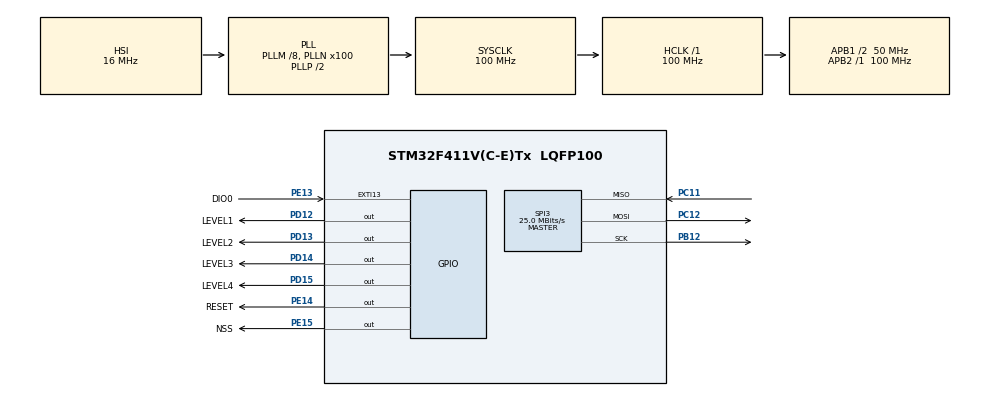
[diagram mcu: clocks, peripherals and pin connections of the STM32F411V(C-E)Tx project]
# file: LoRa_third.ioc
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Mcu.Family=STM32F4
Mcu.Name=STM32F411V(C-E)Tx
Mcu.Package=LQFP100
NVIC.EXTI15_10_IRQn=true\:0\:0\:false\:false\:true\:true\:true
NVIC.PriorityGroup=NVIC_PRIORITYGROUP_4
PA13.Mode=Serial_Wire
PA13.Signal=SYS_JTMS-SWDIO
PA14.Mode=Serial_Wire
PA14.Signal=SYS_JTCK-SWCLK
PB12.Mode=Full_Duplex_Master
PB12.Signal=SPI3_SCK
PC11.Mode=Full_Duplex_Master
PC11.Signal=SPI3_MISO
PC12.Mode=Full_Duplex_Master
PC12.Signal=SPI3_MOSI
PD12.GPIO_Label=LEVEL1
PD12.Signal=GPIO_Output
PD13.GPIO_Label=LEVEL2
PD13.Signal=GPIO_Output
PD14.GPIO_Label=LEVEL3
PD14.Signal=GPIO_Output
PD15.GPIO_Label=LEVEL4
PD15.Signal=GPIO_Output
PE13.GPIO_Label=DIO0
PE13.GPIO_ModeDefaultEXTI=GPIO_MODE_IT_RISING
PE13.Signal=GPXTI13
PE14.GPIO_Label=RESET
PE14.PinState=GPIO_PIN_SET
PE14.Signal=GPIO_Output
PE15.GPIO_Label=NSS
PE15.PinState=GPIO_PIN_SET
PE15.Signal=GPIO_Output
PH0\ -\ OSC_IN.Mode=HSE-External-Oscillator
PH0\ -\ OSC_IN.Signal=RCC_OSC_IN
PH1\ -\ OSC_OUT.Mode=HSE-External-Oscillator
PH1\ -\ OSC_OUT.Signal=RCC_OSC_OUT
ProjectManager.HeapSize=0x200
ProjectManager.StackSize=0x400
ProjectManager.TargetToolchain=MDK-ARM V5
RCC.48MHZClocksFreq_Value=50000000
RCC.AHBFreq_Value=100000000
RCC.APB1CLKDivider=RCC_HCLK_DIV2
RCC.APB1Freq_Value=50000000
RCC.APB1TimFreq_Value=100000000
RCC.APB2Freq_Value=100000000
RCC.APB2TimFreq_Value=100000000
RCC.CortexFreq_Value=100000000
RCC.HCLKFreq_Value=100000000
RCC.HSE_VALUE=25000000
RCC.HSI_VALUE=16000000
RCC.LSE_VALUE=32768
RCC.PLLM=8
RCC.PLLN=100
RCC.SYSCLKFreq_VALUE=100000000
RCC.SYSCLKSource=RCC_SYSCLKSOURCE_PLLCLK
RCC.VCOOutputFreq_Value=200000000
SPI3.CalculateBaudRate=25.0 MBits/s
SPI3.Direction=SPI_DIRECTION_2LINES
SPI3.Mode=SPI_MODE_MASTER
SPI3.VirtualType=VM_MASTER
board=custom

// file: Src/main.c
/* USER CODE BEGIN Header */
/**
  ******************************************************************************
  * @file           : main.c
  * @brief          : Main program body
  ******************************************************************************
  * @attention
  *
  * <h2><center>&copy; Copyright (c) 2020 STMicroelectronics.
  * All rights reserved.</center></h2>
  *
  * This software component is licensed by ST under BSD 3-Clause license,
  * the "License"; You may not use this file except in compliance with the
  * License. You may obtain a copy of the License at:
  *                        opensource.org/licenses/BSD-3-Clause
  *
  ******************************************************************************
  */
/* USER CODE END Header */

#include "main.h"

/* USER CODE BEGIN Includes */
#include <stdlib.h>
#include "LoRa.h"
/* USER CODE END Includes */

SPI_HandleTypeDef hspi3;

/* USER CODE BEGIN PV */
LoRa myLoRa;
uint8_t read_data[128];
uint8_t send_data[128];
int			RSSI;
//LoRa myLoRa;

/* USER CODE END PV */

void SystemClock_Config(void);
static void MX_GPIO_Init(void);
static void MX_SPI3_Init(void);

int main(void)
{

  /* MCU Configuration--------------------------------------------------------*/

  /* Reset of all peripherals, Initializes the Flash interface and the Systick. */
  HAL_Init();

  /* Configure the system clock */
  SystemClock_Config();

  /* Initialize all configured peripherals */
  MX_GPIO_Init();
  MX_SPI3_Init();
  /* USER CODE BEGIN 2 */

	// MODULE SETTINGS ----------------------------------------------
	myLoRa = newLoRa();

	myLoRa.hSPIx                 = &hspi3;
	myLoRa.CS_port               = NSS_GPIO_Port;
	myLoRa.CS_pin                = NSS_Pin;
	myLoRa.reset_port            = RESET_GPIO_Port;
	myLoRa.reset_pin             = RESET_Pin;
	myLoRa.DIO0_port						 = DIO0_GPIO_Port;
	myLoRa.DIO0_pin							 = DIO0_Pin;

	myLoRa.frequency             = 433;							  // default = 433 MHz
	myLoRa.spredingFactor        = SF_7;							// default = SF_7
	myLoRa.bandWidth			       = BW_125KHz;				  // default = BW_125KHz
	myLoRa.crcRate				       = CR_4_5;						// default = CR_4_5
	myLoRa.power					       = POWER_20db;				// default = 20db
	myLoRa.overCurrentProtection = 120; 							// default = 100 mA
	myLoRa.preamble				       = 10;		  					// default = 8;

	LoRa_reset(&myLoRa);
	LoRa_init(&myLoRa);

	// START CONTINUOUS RECEIVING -----------------------------------
	LoRa_startReceiving(&myLoRa);
	//---------------------------------------------------------------

	/* USER CODE END 2 */

  /* Infinite loop */
  /* USER CODE BEGIN WHILE */
  while (1)
  {

		// SENDING DATA - - - - - - - - - - - - - - - - - - - - - - - - -
		send_data[0] = 0x3B; // MY ADDRESS
		for(int i=0; i<26; i++)
			send_data[i+1] = 48+i;
		LoRa_transmit(&myLoRa, send_data, 128, 500);
		HAL_Delay(1500);

		// RECEIVING DATA - - - - - - - - - - - - - - - - - - - - - - - -
		LoRa_receive(&myLoRa, read_data, 128);

    /* USER CODE END WHILE */

  }
}

void SystemClock_Config(void)
{
  RCC_OscInitTypeDef RCC_OscInitStruct = {0};
  RCC_ClkInitTypeDef RCC_ClkInitStruct = {0};

  /** Configure the main internal regulator output voltage
  */
  __HAL_RCC_PWR_CLK_ENABLE();
  __HAL_PWR_VOLTAGESCALING_CONFIG(PWR_REGULATOR_VOLTAGE_SCALE1);
  /** Initializes the CPU, AHB and APB busses clocks
  */
  RCC_OscInitStruct.OscillatorType = RCC_OSCILLATORTYPE_HSI;
  RCC_OscInitStruct.HSIState = RCC_HSI_ON;
  RCC_OscInitStruct.HSICalibrationValue = RCC_HSICALIBRATION_DEFAULT;
  RCC_OscInitStruct.PLL.PLLState = RCC_PLL_ON;
  RCC_OscInitStruct.PLL.PLLSource = RCC_PLLSOURCE_HSI;
  RCC_OscInitStruct.PLL.PLLM = 8;
  RCC_OscInitStruct.PLL.PLLN = 100;
  RCC_OscInitStruct.PLL.PLLP = RCC_PLLP_DIV2;
  RCC_OscInitStruct.PLL.PLLQ = 4;
  if (HAL_RCC_OscConfig(&RCC_OscInitStruct) != HAL_OK)
  {
    Error_Handler();
  }
  /** Initializes the CPU, AHB and APB busses clocks
  */
  RCC_ClkInitStruct.ClockType = RCC_CLOCKTYPE_HCLK|RCC_CLOCKTYPE_SYSCLK
                              |RCC_CLOCKTYPE_PCLK1|RCC_CLOCKTYPE_PCLK2;
  RCC_ClkInitStruct.SYSCLKSource = RCC_SYSCLKSOURCE_PLLCLK;
  RCC_ClkInitStruct.AHBCLKDivider = RCC_SYSCLK_DIV1;
  RCC_ClkInitStruct.APB1CLKDivider = RCC_HCLK_DIV2;
  RCC_ClkInitStruct.APB2CLKDivider = RCC_HCLK_DIV1;

  if (HAL_RCC_ClockConfig(&RCC_ClkInitStruct, FLASH_LATENCY_3) != HAL_OK)
  {
    Error_Handler();
  }
}

static void MX_SPI3_Init(void)
{

  /* SPI3 parameter configuration*/
  hspi3.Instance = SPI3;
  hspi3.Init.Mode = SPI_MODE_MASTER;
  hspi3.Init.Direction = SPI_DIRECTION_2LINES;
  hspi3.Init.DataSize = SPI_DATASIZE_8BIT;
  hspi3.Init.CLKPolarity = SPI_POLARITY_LOW;
  hspi3.Init.CLKPhase = SPI_PHASE_1EDGE;
  hspi3.Init.NSS = SPI_NSS_SOFT;
  hspi3.Init.BaudRatePrescaler = SPI_BAUDRATEPRESCALER_2;
  hspi3.Init.FirstBit = SPI_FIRSTBIT_MSB;
  hspi3.Init.TIMode = SPI_TIMODE_DISABLE;
  hspi3.Init.CRCCalculation = SPI_CRCCALCULATION_DISABLE;
  hspi3.Init.CRCPolynomial = 10;
  if (HAL_SPI_Init(&hspi3) != HAL_OK)
  {
    Error_Handler();
  }

}

static void MX_GPIO_Init(void)
{
  GPIO_InitTypeDef GPIO_InitStruct = {0};

  /* GPIO Ports Clock Enable */
  __HAL_RCC_GPIOH_CLK_ENABLE();
  __HAL_RCC_GPIOE_CLK_ENABLE();
  __HAL_RCC_GPIOB_CLK_ENABLE();
  __HAL_RCC_GPIOD_CLK_ENABLE();
  __HAL_RCC_GPIOA_CLK_ENABLE();
  __HAL_RCC_GPIOC_CLK_ENABLE();

  /*Configure GPIO pin Output Level */
  HAL_GPIO_WritePin(GPIOE, RESET_Pin|NSS_Pin, GPIO_PIN_SET);

  /*Configure GPIO pin Output Level */
  HAL_GPIO_WritePin(GPIOD, LEVEL1_Pin|LEVEL2_Pin|LEVEL3_Pin|LEVEL4_Pin, GPIO_PIN_RESET);

  /*Configure GPIO pin : DIO0_Pin */
  GPIO_InitStruct.Pin = DIO0_Pin;
  GPIO_InitStruct.Mode = GPIO_MODE_IT_RISING;
  GPIO_InitStruct.Pull = GPIO_NOPULL;
  HAL_GPIO_Init(DIO0_GPIO_Port, &GPIO_InitStruct);

  /*Configure GPIO pins : RESET_Pin NSS_Pin */
  GPIO_InitStruct.Pin = RESET_Pin|NSS_Pin;
  GPIO_InitStruct.Mode = GPIO_MODE_OUTPUT_PP;
  GPIO_InitStruct.Pull = GPIO_NOPULL;
  GPIO_InitStruct.Speed = GPIO_SPEED_FREQ_LOW;
  HAL_GPIO_Init(GPIOE, &GPIO_InitStruct);

  /*Configure GPIO pins : LEVEL1_Pin LEVEL2_Pin LEVEL3_Pin LEVEL4_Pin */
  GPIO_InitStruct.Pin = LEVEL1_Pin|LEVEL2_Pin|LEVEL3_Pin|LEVEL4_Pin;
  GPIO_InitStruct.Mode = GPIO_MODE_OUTPUT_PP;
  GPIO_InitStruct.Pull = GPIO_NOPULL;
  GPIO_InitStruct.Speed = GPIO_SPEED_FREQ_LOW;
  HAL_GPIO_Init(GPIOD, &GPIO_InitStruct);

  /* EXTI interrupt init*/
  HAL_NVIC_SetPriority(EXTI15_10_IRQn, 0, 0);
  HAL_NVIC_EnableIRQ(EXTI15_10_IRQn);

}

/* USER CODE BEGIN 4 */
void HAL_GPIO_EXTI_Callback(uint16_t GPIO_Pin){
	if(GPIO_Pin == myLoRa.DIO0_pin){

	}
}
/* USER CODE END 4 */

void Error_Handler(void)
{
}

/************************ (C) COPYRIGHT STMicroelectronics *****END OF FILE****/
